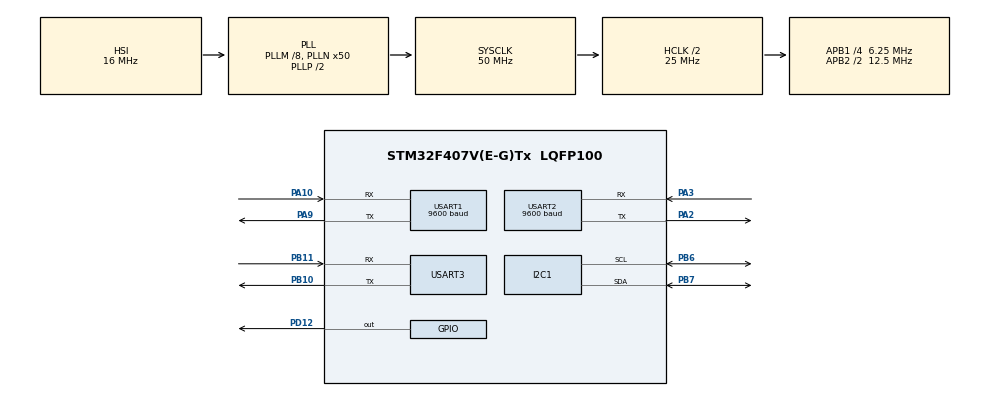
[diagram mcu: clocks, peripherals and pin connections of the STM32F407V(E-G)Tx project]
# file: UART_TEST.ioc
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Mcu.Family=STM32F4
Mcu.Name=STM32F407V(E-G)Tx
Mcu.Package=LQFP100
NVIC.PriorityGroup=NVIC_PRIORITYGROUP_0
NVIC.USART2_IRQn=true\:0\:0\:false\:false\:true\:true
NVIC.USART3_IRQn=true\:0\:0\:false\:false\:true\:true
PA10.Mode=Asynchronous
PA10.Signal=USART1_RX
PA13.Mode=Serial_Wire
PA13.Signal=SYS_JTMS-SWDIO
PA14.Mode=Serial_Wire
PA14.Signal=SYS_JTCK-SWCLK
PA2.Mode=Asynchronous
PA2.Signal=USART2_TX
PA3.Mode=Asynchronous
PA3.Signal=USART2_RX
PA9.Mode=Asynchronous
PA9.Signal=USART1_TX
PB10.Mode=Asynchronous
PB10.Signal=USART3_TX
PB11.Mode=Asynchronous
PB11.Signal=USART3_RX
PB6.Mode=I2C
PB6.Signal=I2C1_SCL
PB7.Mode=I2C
PB7.Signal=I2C1_SDA
PD12.Signal=GPIO_Output
ProjectManager.HeapSize=0x200
ProjectManager.StackSize=0x400
ProjectManager.TargetToolchain=SW4STM32
RCC.48MHZClocksFreq_Value=14285714.285714285
RCC.AHBCLKDivider=RCC_SYSCLK_DIV2
RCC.AHBFreq_Value=25000000
RCC.APB1CLKDivider=RCC_HCLK_DIV4
RCC.APB1Freq_Value=6250000
RCC.APB1TimFreq_Value=12500000
RCC.APB2CLKDivider=RCC_HCLK_DIV2
RCC.APB2Freq_Value=12500000
RCC.APB2TimFreq_Value=25000000
RCC.CortexFreq_Value=25000000
RCC.HCLKFreq_Value=25000000
RCC.HSE_VALUE=8000000
RCC.HSI_VALUE=16000000
RCC.LSE_VALUE=32768
RCC.PLLM=8
RCC.PLLN=50
RCC.PLLQ=7
RCC.SYSCLKFreq_VALUE=50000000
RCC.SYSCLKSource=RCC_SYSCLKSOURCE_PLLCLK
RCC.VCOOutputFreq_Value=100000000
USART1.BaudRate=9600
USART1.VirtualMode=VM_ASYNC
USART2.BaudRate=9600
USART2.VirtualMode=VM_ASYNC
USART3.VirtualMode=VM_ASYNC
board=STM32F4DISCOVERY

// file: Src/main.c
/**
  ******************************************************************************
  * @file           : main.c
  * @brief          : Main program body
  ******************************************************************************
  ** This notice applies to any and all portions of this file
  * that are not between comment pairs USER CODE BEGIN and
  * USER CODE END. Other portions of this file, whether
  * inserted by the user or by software development tools
  * are owned by their respective copyright owners.
  *
  * COPYRIGHT(c) 2018 STMicroelectronics
  *
  * Redistribution and use in source and binary forms, with or without modification,
  * are permitted provided that the following conditions are met:
  *   1. Redistributions of source code must retain the above copyright notice,
  *      this list of conditions and the following disclaimer.
  *   2. Redistributions in binary form must reproduce the above copyright notice,
  *      this list of conditions and the following disclaimer in the documentation
  *      and/or other materials provided with the distribution.
  *   3. Neither the name of STMicroelectronics nor the names of its contributors
  *      may be used to endorse or promote products derived from this software
  *      without specific prior written permission.
  *
  * THIS SOFTWARE IS PROVIDED BY THE COPYRIGHT HOLDERS AND CONTRIBUTORS "AS IS"
  * AND ANY EXPRESS OR IMPLIED WARRANTIES, INCLUDING, BUT NOT LIMITED TO, THE
  * IMPLIED WARRANTIES OF MERCHANTABILITY AND FITNESS FOR A PARTICULAR PURPOSE ARE
  * DISCLAIMED. IN NO EVENT SHALL THE COPYRIGHT HOLDER OR CONTRIBUTORS BE LIABLE
  * FOR ANY DIRECT, INDIRECT, INCIDENTAL, SPECIAL, EXEMPLARY, OR CONSEQUENTIAL
  * DAMAGES (INCLUDING, BUT NOT LIMITED TO, PROCUREMENT OF SUBSTITUTE GOODS OR
  * SERVICES; LOSS OF USE, DATA, OR PROFITS; OR BUSINESS INTERRUPTION) HOWEVER
  * CAUSED AND ON ANY THEORY OF LIABILITY, WHETHER IN CONTRACT, STRICT LIABILITY,
  * OR TORT (INCLUDING NEGLIGENCE OR OTHERWISE) ARISING IN ANY WAY OUT OF THE USE
  * OF THIS SOFTWARE, EVEN IF ADVISED OF THE POSSIBILITY OF SUCH DAMAGE.
  *
  ******************************************************************************
  */
#include "main.h"
#include "stm32f4xx_hal.h"

/* USER CODE BEGIN Includes */
#include <stdlib.h>
#include <string.h>
#include <math.h>

/* USER CODE END Includes */

I2C_HandleTypeDef hi2c1;

UART_HandleTypeDef huart1;
UART_HandleTypeDef huart2;
UART_HandleTypeDef huart3;

/* USER CODE BEGIN PV */
/* Private variables ---------------------------------------------------------*/

char* buff = "Hello!\n\r";
char* test = "Fop";
int result = 0;

/* USER CODE END PV */

void SystemClock_Config(void);
static void MX_GPIO_Init(void);
static void MX_USART1_UART_Init(void);
static void MX_USART2_UART_Init(void);
static void MX_I2C1_Init(void);
static void MX_USART3_UART_Init(void);

/* USER CODE BEGIN PFP */
/* Private function prototypes -----------------------------------------------*/

//GPS Variables
int Rx_indx;
int Transfer_cplt = 0;
uint8_t Rx_data;
char Rx_Buffer[80];
char GPS_Data[60];
char CoordinateType[6];	//Determine if the current data received is GPGGA, GPGSA, GPRMC, or GPVTG, we only need RMC and GGA
char latDegBuff[3]; // "XX\0"
char latMinBuff[8]; // "XX.XXXX\0"
char longDegBuff[4]; // "XX\0"
char longMinBuff[8]; // "XX.XXXX\0"
char altitudeBuff[6];
int printLCD = 0;

//WiFi Variables
int WiFi_Transfer_cplt = 0;
uint8_t Rx3_data;
int Rx3_indx;
char Rx3_Buffer[35];
char drinkOrder[15];
char targetLatDeg[3];
char targetLatMin[9];
char targetLongDeg[3];
char targetLongMin[9];

unsigned long prevTimeLED;
unsigned long prevTimeLCD;
unsigned long prevTimeTransmit;
unsigned long currTime;

struct Latitude_data
{
	int degrees;
	double decimalMin;
	char orientation;
};

struct Longitude_data
{
	int degrees;
	double decimalMin;
	char orientation;
};

struct RMC_data {
	char fixStatus;
	struct Latitude_data Latitude;
    struct Longitude_data Longitude;
    double altitude;
} RMC;

struct WiFi_data {
	struct Latitude_data Latitude;
	struct Longitude_data Longitude;
	int orderCancelled;
} WiFi;

//LCD Functions
void lcd_send_cmd (char);
void lcd_send_data (char);
void lcd_print (char*);
void lcd_init(void);
void lcd_clear(void);
void lcd_firstLine(void);
void lcd_secondLine(void);

/* USER CODE END PFP */

/* USER CODE BEGIN 0 */

void HAL_UART_RxCpltCallback(UART_HandleTypeDef *huart)
{
    uint8_t i;
    uint8_t j;
    uint8_t k;

    if (huart->Instance == USART3)
    {
    	if (Rx3_indx==0) {for (i=0;i<35;i++) Rx3_Buffer[i]=0;}   //clear Rx_Buffer before receiving new data

		if (Rx3_data != 13) //if received data different from ascii 13 (enter)
		{
			Rx3_Buffer[Rx3_indx++]=Rx3_data;    //add data to Rx_Buffer
		}
		else            //if received data = 13
		{
			Rx3_indx=0;

			WiFi_Transfer_cplt=1;//transfer complete, data is ready to read
		}

		HAL_UART_Receive_IT(&huart3, &Rx3_data, 1);   //activate UART receive interrupt every time
    }

    if (huart->Instance == USART2)  //current UART
    {
        if (Rx_indx==0) {for (i=0;i<80;i++) Rx_Buffer[i]=0;}   //clear Rx_Buffer before receiving new data

        if (Rx_data != 10) //if received data different from ascii 13 (enter)
        {
            Rx_Buffer[Rx_indx++]=Rx_data;    //add data to Rx_Buffer
        }
        else            //if received data = 13
        {
            Rx_indx=0;

			for (j=0;j<6;j++) {
				CoordinateType[j] = Rx_Buffer[j];
			}

			j++;

			for (k=0;k<60;k++) {
				GPS_Data[k] = Rx_Buffer[j];
				j++;
			}

            Transfer_cplt=1;//transfer complete, data is ready to read
        }

        HAL_UART_Receive_IT(&huart2, &Rx_data, 1);   //activate UART receive interrupt every time
    }
}

/* USER CODE END 0 */

int main(void)
{

  /* MCU Configuration----------------------------------------------------------*/

  /* Reset of all peripherals, Initializes the Flash interface and the Systick. */
  HAL_Init();

  /* Configure the system clock */
  SystemClock_Config();

  /* Initialize all configured peripherals */
  MX_GPIO_Init();
  MX_USART1_UART_Init();
  MX_USART2_UART_Init();
  MX_I2C1_Init();
  MX_USART3_UART_Init();
  /* USER CODE BEGIN 2 */

  lcd_init();
  lcd_clear();
  lcd_print("TEST");

  result = strcmp(test, "Foo");

  HAL_UART_Receive_IT(&huart2, &Rx_data, 1);
  HAL_UART_Receive_IT(&huart3, &Rx3_data, 1);   //activate UART receive interrupt every time

  prevTimeLED = 0;
  prevTimeLCD = 0;
  prevTimeTransmit = 0;

  /* USER CODE END 2 */

  /* Infinite loop */
  /* USER CODE BEGIN WHILE */
  while (1)
  {
	  currTime = HAL_GetTick();

	  if (currTime - prevTimeLED >= 1000) {
		  prevTimeLED = currTime;
		  HAL_GPIO_TogglePin(GPIOD, GPIO_PIN_12);
	  }

  /* USER CODE END WHILE */

  /* USER CODE BEGIN 3 */

	  if (Transfer_cplt) {
		  Transfer_cplt = 0;

		  if (strcmp(CoordinateType, "$GPRMC") == 0)
		  {
			  RMC.fixStatus = GPS_Data[11];

			  if (RMC.fixStatus == 'V') {
				  if (printLCD) {
					  lcd_clear();
					  lcd_print("NO GPS FIX");
					  printLCD = 0;
				  }
			  }

			  //Latitude Degrees
			  memcpy(latDegBuff, &GPS_Data[13], 2);
			  latDegBuff[2] = '\0';
			  RMC.Latitude.degrees = atoi(latDegBuff);

			  //Latitude Decimal Minutes
			  memcpy(latMinBuff, &GPS_Data[15], 7);
			  latMinBuff[7] = '\0';
			  RMC.Latitude.decimalMin = atof(latMinBuff);

			  //Latitude Orientation
			  RMC.Latitude.orientation = GPS_Data[23];

			  //Longitude Degrees
			  memcpy(longDegBuff, &GPS_Data[25], 3);
			  latDegBuff[3] = '\0';
			  RMC.Longitude.degrees = atoi(longDegBuff);

			  //Longitude Decimal Minutes
			  memcpy(latMinBuff, &GPS_Data[28], 7);
			  latMinBuff[7] = '\0';
			  RMC.Longitude.decimalMin = atof(latMinBuff);

			  //Longitude Orientation
			  RMC.Longitude.orientation = GPS_Data[36];
		  }

		  else if (strcmp(CoordinateType, "$GPGGA") == 0)
		  {
			  int a = 46;
			  int b = 0;

			  while (GPS_Data[a] != ',') {
				  altitudeBuff[b] = GPS_Data[a];
				  a++;
				  b++;
			  }
			  altitudeBuff[b] = '\0';

			  RMC.altitude = roundf((atof(altitudeBuff)) * 10) / 10;
		  }
	  }

	  else if (WiFi_Transfer_cplt)
	  {
		  WiFi_Transfer_cplt = 0;
		  //LATITUDE
		  if (Rx3_Buffer[0] == '+')
		  {
			  WiFi.Latitude.orientation = 'N';
			  WiFi.orderCancelled = 0;
		  }
		  else if (Rx3_Buffer[0] == '-')
		  {
			  WiFi.Latitude.orientation = 'S';
			  WiFi.orderCancelled = 0;
		  }
		  else
		  {
			  WiFi.orderCancelled = 1;
		  }

		  if (WiFi.orderCancelled == 0)
		  {
			  //Latitude Degrees
			  targetLatDeg[0] = Rx3_Buffer[1];
			  targetLatDeg[1] = Rx3_Buffer[2];
			  targetLatDeg[2] = '\0';

			  WiFi.Latitude.degrees = atoi(targetLatDeg);

			  //Latitude decimalMin
			  targetLatMin[0] = Rx3_Buffer[4];
			  targetLatMin[1] =Rx3_Buffer[5];
			  targetLatMin[2] = '.';
			  targetLatMin[3] = Rx3_Buffer[6];
			  targetLatMin[4] = Rx3_Buffer[7];
			  targetLatMin[5] = Rx3_Buffer[8];
			  targetLatMin[6] = Rx3_Buffer[9];
			  targetLatMin[7] = Rx3_Buffer[10];
			  targetLatMin[8] = '\0';

			  WiFi.Latitude.decimalMin = atof(targetLatMin);

			  //LONGITUDE
			  if (Rx3_Buffer[13] == '+')
			  {
				WiFi.Longitude.orientation = 'E';
			  }
			  else if (Rx3_Buffer[13] == '-')
			  {
				WiFi.Longitude.orientation = 'W';
			  }

			  //Longitude Degrees
			  targetLongDeg[0] = Rx3_Buffer[14];
			  targetLatDeg[1] = Rx3_Buffer[15];
			  targetLatDeg[2] = '\0';

			  WiFi.Longitude.degrees = atoi(targetLongDeg);

			  //Longitude decimalMin
			  targetLongMin[0] = Rx3_Buffer[17];
			  targetLongMin[1] = Rx3_Buffer[18];
			  targetLongMin[2] = '.';
			  targetLongMin[3] = Rx3_Buffer[19];
			  targetLongMin[4] = Rx3_Buffer[20];
			  targetLongMin[5] = Rx3_Buffer[21];
			  targetLongMin[6] = Rx3_Buffer[22];
			  targetLongMin[7] = Rx3_Buffer[23];
			  targetLongMin[8] = '\0';

			  WiFi.Longitude.decimalMin = atof(targetLongMin);

			  //DRINK ORDER
			  int a = 25;
			  int b = 0;

			  while (Rx3_Buffer[a] != ',')
			  {
				  drinkOrder[b] = Rx3_Buffer[a];
				  a++;
				  b++;
			  }
			  drinkOrder[b] = '\0';
		  }
	  }

  }
  /* USER CODE END 3 */

}

void SystemClock_Config(void)
{

  RCC_OscInitTypeDef RCC_OscInitStruct;
  RCC_ClkInitTypeDef RCC_ClkInitStruct;

    /**Configure the main internal regulator output voltage
    */
  __HAL_RCC_PWR_CLK_ENABLE();

  __HAL_PWR_VOLTAGESCALING_CONFIG(PWR_REGULATOR_VOLTAGE_SCALE1);

    /**Initializes the CPU, AHB and APB busses clocks
    */
  RCC_OscInitStruct.OscillatorType = RCC_OSCILLATORTYPE_HSI;
  RCC_OscInitStruct.HSIState = RCC_HSI_ON;
  RCC_OscInitStruct.HSICalibrationValue = 16;
  RCC_OscInitStruct.PLL.PLLState = RCC_PLL_ON;
  RCC_OscInitStruct.PLL.PLLSource = RCC_PLLSOURCE_HSI;
  RCC_OscInitStruct.PLL.PLLM = 8;
  RCC_OscInitStruct.PLL.PLLN = 50;
  RCC_OscInitStruct.PLL.PLLP = RCC_PLLP_DIV2;
  RCC_OscInitStruct.PLL.PLLQ = 7;
  if (HAL_RCC_OscConfig(&RCC_OscInitStruct) != HAL_OK)
  {
    _Error_Handler(__FILE__, __LINE__);
  }

    /**Initializes the CPU, AHB and APB busses clocks
    */
  RCC_ClkInitStruct.ClockType = RCC_CLOCKTYPE_HCLK|RCC_CLOCKTYPE_SYSCLK
                              |RCC_CLOCKTYPE_PCLK1|RCC_CLOCKTYPE_PCLK2;
  RCC_ClkInitStruct.SYSCLKSource = RCC_SYSCLKSOURCE_PLLCLK;
  RCC_ClkInitStruct.AHBCLKDivider = RCC_SYSCLK_DIV2;
  RCC_ClkInitStruct.APB1CLKDivider = RCC_HCLK_DIV4;
  RCC_ClkInitStruct.APB2CLKDivider = RCC_HCLK_DIV2;

  if (HAL_RCC_ClockConfig(&RCC_ClkInitStruct, FLASH_LATENCY_0) != HAL_OK)
  {
    _Error_Handler(__FILE__, __LINE__);
  }

    /**Configure the Systick interrupt time
    */
  HAL_SYSTICK_Config(HAL_RCC_GetHCLKFreq()/1000);

    /**Configure the Systick
    */
  HAL_SYSTICK_CLKSourceConfig(SYSTICK_CLKSOURCE_HCLK);

  /* SysTick_IRQn interrupt configuration */
  HAL_NVIC_SetPriority(SysTick_IRQn, 0, 0);
}

/* I2C1 init function */
static void MX_I2C1_Init(void)
{

  hi2c1.Instance = I2C1;
  hi2c1.Init.ClockSpeed = 100000;
  hi2c1.Init.DutyCycle = I2C_DUTYCYCLE_2;
  hi2c1.Init.OwnAddress1 = 0;
  hi2c1.Init.AddressingMode = I2C_ADDRESSINGMODE_7BIT;
  hi2c1.Init.DualAddressMode = I2C_DUALADDRESS_DISABLE;
  hi2c1.Init.OwnAddress2 = 0;
  hi2c1.Init.GeneralCallMode = I2C_GENERALCALL_DISABLE;
  hi2c1.Init.NoStretchMode = I2C_NOSTRETCH_DISABLE;
  if (HAL_I2C_Init(&hi2c1) != HAL_OK)
  {
    _Error_Handler(__FILE__, __LINE__);
  }

}

/* USART1 init function */
static void MX_USART1_UART_Init(void)
{

  huart1.Instance = USART1;
  huart1.Init.BaudRate = 9600;
  huart1.Init.WordLength = UART_WORDLENGTH_8B;
  huart1.Init.StopBits = UART_STOPBITS_1;
  huart1.Init.Parity = UART_PARITY_NONE;
  huart1.Init.Mode = UART_MODE_TX_RX;
  huart1.Init.HwFlowCtl = UART_HWCONTROL_NONE;
  huart1.Init.OverSampling = UART_OVERSAMPLING_16;
  if (HAL_UART_Init(&huart1) != HAL_OK)
  {
    _Error_Handler(__FILE__, __LINE__);
  }

}

/* USART2 init function */
static void MX_USART2_UART_Init(void)
{

  huart2.Instance = USART2;
  huart2.Init.BaudRate = 9600;
  huart2.Init.WordLength = UART_WORDLENGTH_8B;
  huart2.Init.StopBits = UART_STOPBITS_1;
  huart2.Init.Parity = UART_PARITY_NONE;
  huart2.Init.Mode = UART_MODE_TX_RX;
  huart2.Init.HwFlowCtl = UART_HWCONTROL_NONE;
  huart2.Init.OverSampling = UART_OVERSAMPLING_16;
  if (HAL_UART_Init(&huart2) != HAL_OK)
  {
    _Error_Handler(__FILE__, __LINE__);
  }

}

/* USART3 init function */
static void MX_USART3_UART_Init(void)
{

  huart3.Instance = USART3;
  huart3.Init.BaudRate = 115200;
  huart3.Init.WordLength = UART_WORDLENGTH_8B;
  huart3.Init.StopBits = UART_STOPBITS_1;
  huart3.Init.Parity = UART_PARITY_NONE;
  huart3.Init.Mode = UART_MODE_TX_RX;
  huart3.Init.HwFlowCtl = UART_HWCONTROL_NONE;
  huart3.Init.OverSampling = UART_OVERSAMPLING_16;
  if (HAL_UART_Init(&huart3) != HAL_OK)
  {
    _Error_Handler(__FILE__, __LINE__);
  }

}

/** Configure pins as
        * Analog
        * Input
        * Output
        * EVENT_OUT
        * EXTI
*/
static void MX_GPIO_Init(void)
{

  GPIO_InitTypeDef GPIO_InitStruct;

  /* GPIO Ports Clock Enable */
  __HAL_RCC_GPIOA_CLK_ENABLE();
  __HAL_RCC_GPIOB_CLK_ENABLE();
  __HAL_RCC_GPIOD_CLK_ENABLE();

  /*Configure GPIO pin Output Level */
  HAL_GPIO_WritePin(GPIOD, GPIO_PIN_12, GPIO_PIN_RESET);

  /*Configure GPIO pin : PD12 */
  GPIO_InitStruct.Pin = GPIO_PIN_12;
  GPIO_InitStruct.Mode = GPIO_MODE_OUTPUT_PP;
  GPIO_InitStruct.Pull = GPIO_NOPULL;
  GPIO_InitStruct.Speed = GPIO_SPEED_FREQ_LOW;
  HAL_GPIO_Init(GPIOD, &GPIO_InitStruct);

}

/* USER CODE BEGIN 4 */

//-------------------USER FUNCTIONS--------------------//

void lcd_send_cmd (char cmd)
{
  char data_u, data_l;
	uint8_t data_t[4];
	data_u = cmd&0xf0;
	data_l = (cmd<<4)&0xf0;
	data_t[0] = data_u|0x04|0x08;  	//en=1, rs=0
	data_t[1] = data_u|0x08;  		//en=0, rs=0
	data_t[2] = data_l|0x04|0x08;  	//en=1, rs=0
	data_t[3] = data_l|0x08;  		//en=0, rs=0
	HAL_I2C_Master_Transmit (&hi2c1, 0x27<<1,(uint8_t *) data_t, 4, 100);
}

void lcd_send_data (char data)
{
	char data_u, data_l;
	uint8_t data_t[4];
	data_u = data&0xf0;
	data_l = (data<<4)&0xf0;
	data_t[0] = data_u|0x05|0x08;  //en=1, rs=0
	data_t[1] = data_u|0x01|0x08;  //en=0, rs=0
	data_t[2] = data_l|0x05|0x08;  //en=1, rs=0
	data_t[3] = data_l|0x01|0x08;  //en=0, rs=0
	HAL_I2C_Master_Transmit (&hi2c1, 0x27<<1,(uint8_t *) data_t, 4, 100);
}

void lcd_init (void)
{
	HAL_Delay(100);
	lcd_send_cmd (0x02);
	HAL_Delay(100);
	lcd_send_cmd (0x28);
	HAL_Delay(1);
	lcd_send_cmd (0x0C);
	HAL_Delay(1);
	lcd_send_cmd (0x80);
	HAL_Delay(1);
	lcd_send_cmd (0x01);
	HAL_Delay(1);
}

void lcd_print (char *str)
{
	while (*str) lcd_send_data (*str++);
}

void lcd_clear (void)
{
	lcd_send_cmd(0x01);
	HAL_Delay(1);
}

void lcd_firstLine (void)
{
	lcd_send_cmd(0x80);
	HAL_Delay(1);
}

void lcd_secondLine (void)
{
	lcd_send_cmd(0xC0);
	HAL_Delay(1);
}

/* USER CODE END 4 */

void _Error_Handler(char *file, int line)
{
  while(1)
  {
  }
}

/************************ (C) COPYRIGHT STMicroelectronics *****END OF FILE****/
